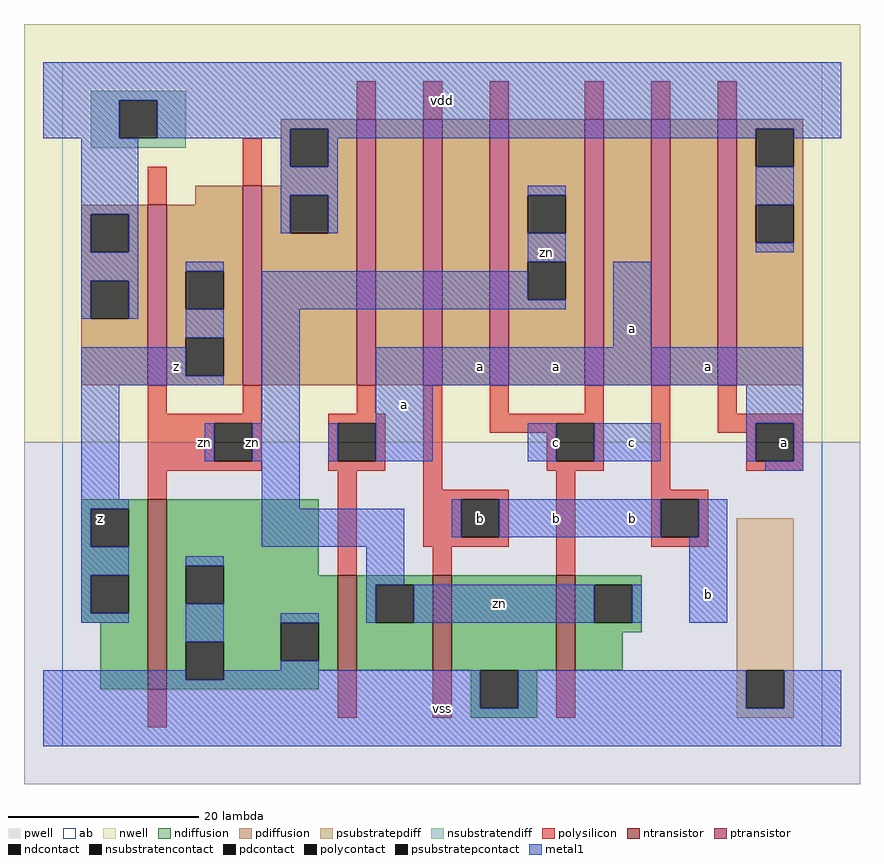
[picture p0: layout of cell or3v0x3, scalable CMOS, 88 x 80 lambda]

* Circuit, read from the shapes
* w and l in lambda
.subckt or3v0x3 a b c vdd vss z zn
M1 vss zn z vss nfet w=20 l=2
M2 zn a vss vss nfet w=10 l=2
M3 vss b zn vss nfet w=10 l=2
M4 zn c vss vss nfet w=10 l=2
M5 z zn vdd vdd pfet w=19 l=2
M6 vdd zn z vdd pfet w=21 l=2
M7 n1 a vdd vdd pfet w=28 l=2
M8 n2 b n1 vdd pfet w=28 l=2
M9 zn c n2 vdd pfet w=28 l=2
M10 n3 c zn vdd pfet w=28 l=2
M11 n4 b n3 vdd pfet w=28 l=2
M12 vdd a n4 vdd pfet w=28 l=2
.ends

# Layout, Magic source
magic
tech scmos
<< ab >>
rect 0 0 80 72
<< pwell >>
rect -4 -4 84 32
<< nwell >>
rect -4 32 84 76
<< polysilicon >>
rect 31 66 33 70
rect 38 66 40 70
rect 45 66 47 70
rect 55 66 57 70
rect 62 66 64 70
rect 69 66 71 70
rect 9 57 11 61
rect 19 59 21 64
rect 9 35 11 38
rect 19 35 21 38
rect 31 35 33 38
rect 9 34 21 35
rect 9 30 16 34
rect 20 30 21 34
rect 9 29 21 30
rect 28 34 34 35
rect 28 30 29 34
rect 33 30 34 34
rect 28 29 34 30
rect 9 26 11 29
rect 29 18 31 29
rect 38 27 40 38
rect 45 35 47 38
rect 55 35 57 38
rect 45 34 57 35
rect 45 33 52 34
rect 51 30 52 33
rect 56 30 57 34
rect 51 29 57 30
rect 38 26 47 27
rect 38 22 42 26
rect 46 22 47 26
rect 38 21 47 22
rect 39 18 41 21
rect 52 18 54 29
rect 62 27 64 38
rect 69 35 71 38
rect 69 34 78 35
rect 69 33 73 34
rect 72 30 73 33
rect 77 30 78 34
rect 72 29 78 30
rect 62 26 68 27
rect 62 22 63 26
rect 67 22 68 26
rect 62 21 68 22
rect 9 2 11 6
rect 29 3 31 8
rect 39 3 41 8
rect 52 3 54 8
<< ndiffusion >>
rect 2 25 9 26
rect 2 21 3 25
rect 7 21 9 25
rect 2 18 9 21
rect 2 14 3 18
rect 7 14 9 18
rect 2 13 9 14
rect 4 6 9 13
rect 11 19 27 26
rect 11 15 13 19
rect 17 18 27 19
rect 17 15 29 18
rect 11 13 29 15
rect 11 11 23 13
rect 11 7 13 11
rect 17 9 23 11
rect 27 9 29 13
rect 17 8 29 9
rect 31 17 39 18
rect 31 13 33 17
rect 37 13 39 17
rect 31 8 39 13
rect 41 8 52 18
rect 54 17 61 18
rect 54 13 56 17
rect 60 13 61 17
rect 54 12 61 13
rect 54 8 59 12
rect 17 7 27 8
rect 11 6 27 7
rect 43 4 44 8
rect 48 4 50 8
rect 43 3 50 4
<< pdiffusion >>
rect 23 65 31 66
rect 23 61 24 65
rect 28 61 31 65
rect 23 59 31 61
rect 14 57 19 59
rect 2 56 9 57
rect 2 52 3 56
rect 7 52 9 56
rect 2 49 9 52
rect 2 45 3 49
rect 7 45 9 49
rect 2 38 9 45
rect 11 50 19 57
rect 11 46 13 50
rect 17 46 19 50
rect 11 43 19 46
rect 11 39 13 43
rect 17 39 19 43
rect 11 38 19 39
rect 21 58 31 59
rect 21 54 24 58
rect 28 54 31 58
rect 21 38 31 54
rect 33 38 38 66
rect 40 38 45 66
rect 47 58 55 66
rect 47 54 49 58
rect 53 54 55 58
rect 47 51 55 54
rect 47 47 49 51
rect 53 47 55 51
rect 47 38 55 47
rect 57 38 62 66
rect 64 38 69 66
rect 71 65 78 66
rect 71 61 73 65
rect 77 61 78 65
rect 71 57 78 61
rect 71 53 73 57
rect 77 53 78 57
rect 71 38 78 53
<< metal1 >>
rect -2 68 82 72
rect -2 64 6 68
rect 10 65 82 68
rect 10 64 24 65
rect 2 56 8 64
rect 2 52 3 56
rect 7 52 8 56
rect 23 61 24 64
rect 28 64 73 65
rect 28 61 29 64
rect 23 58 29 61
rect 77 64 82 65
rect 23 54 24 58
rect 28 54 29 58
rect 49 58 53 59
rect 2 49 8 52
rect 49 51 53 54
rect 73 57 77 61
rect 73 52 77 53
rect 2 45 3 49
rect 7 45 8 49
rect 13 50 17 51
rect 13 43 17 46
rect 2 39 13 42
rect 2 38 17 39
rect 21 47 49 50
rect 21 46 53 47
rect 2 26 6 38
rect 21 34 25 46
rect 58 42 62 51
rect 33 38 78 42
rect 15 30 16 34
rect 20 30 25 34
rect 28 30 29 34
rect 33 30 39 38
rect 72 34 78 38
rect 49 30 52 34
rect 56 30 63 34
rect 72 30 73 34
rect 77 30 78 34
rect 2 25 7 26
rect 2 21 3 25
rect 21 25 25 30
rect 74 29 78 30
rect 21 21 36 25
rect 41 22 42 26
rect 46 22 63 26
rect 67 22 70 26
rect 2 18 7 21
rect 2 14 3 18
rect 2 13 7 14
rect 13 19 17 20
rect 13 11 17 15
rect 32 17 36 21
rect -2 7 13 8
rect 23 13 27 14
rect 32 13 33 17
rect 37 13 56 17
rect 60 13 61 17
rect 66 13 70 22
rect 23 8 27 9
rect 17 7 44 8
rect -2 4 44 7
rect 48 4 72 8
rect 76 4 82 8
rect -2 0 82 4
<< ntransistor >>
rect 9 6 11 26
rect 29 8 31 18
rect 39 8 41 18
rect 52 8 54 18
<< ptransistor >>
rect 9 38 11 57
rect 19 38 21 59
rect 31 38 33 66
rect 38 38 40 66
rect 45 38 47 66
rect 55 38 57 66
rect 62 38 64 66
rect 69 38 71 66
<< polycontact >>
rect 16 30 20 34
rect 29 30 33 34
rect 52 30 56 34
rect 42 22 46 26
rect 73 30 77 34
rect 63 22 67 26
<< ndcontact >>
rect 3 21 7 25
rect 3 14 7 18
rect 13 15 17 19
rect 13 7 17 11
rect 23 9 27 13
rect 33 13 37 17
rect 56 13 60 17
rect 44 4 48 8
<< pdcontact >>
rect 24 61 28 65
rect 3 52 7 56
rect 3 45 7 49
rect 13 46 17 50
rect 13 39 17 43
rect 24 54 28 58
rect 49 54 53 58
rect 49 47 53 51
rect 73 61 77 65
rect 73 53 77 57
<< psubstratepcontact >>
rect 72 4 76 8
<< nsubstratencontact >>
rect 6 64 10 68
<< psubstratepdiff >>
rect 71 8 77 24
rect 71 4 72 8
rect 76 4 77 8
rect 71 3 77 4
<< nsubstratendiff >>
rect 3 68 13 69
rect 3 64 6 68
rect 10 64 13 68
rect 3 63 13 64
<< labels >>
rlabel polysilicon 15 32 15 32 6 zn
rlabel ndcontact 4 24 4 24 6 z
rlabel metal1 20 32 20 32 6 zn
rlabel metal1 12 40 12 40 6 z
rlabel metal1 40 4 40 4 6 vss
rlabel polycontact 44 24 44 24 6 b
rlabel metal1 44 40 44 40 6 a
rlabel metal1 36 36 36 36 6 a
rlabel metal1 40 68 40 68 6 vdd
rlabel metal1 46 15 46 15 6 zn
rlabel metal1 52 24 52 24 6 b
rlabel metal1 60 24 60 24 6 b
rlabel metal1 60 32 60 32 6 c
rlabel metal1 52 32 52 32 6 c
rlabel metal1 52 40 52 40 6 a
rlabel metal1 60 44 60 44 6 a
rlabel metal1 51 52 51 52 6 zn
rlabel metal1 68 16 68 16 6 b
rlabel polycontact 76 32 76 32 6 a
rlabel metal1 68 40 68 40 6 a
<< end >>
